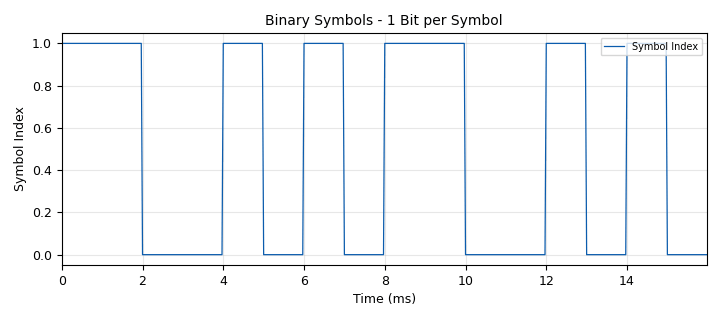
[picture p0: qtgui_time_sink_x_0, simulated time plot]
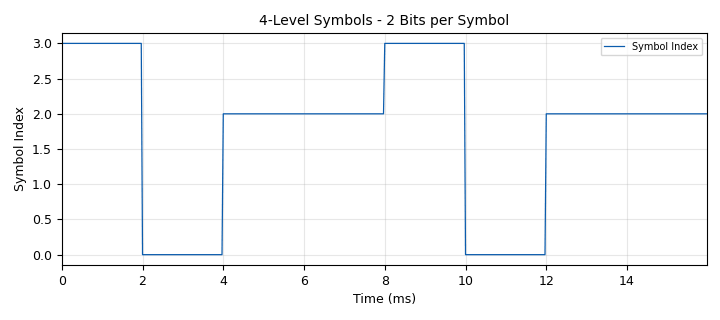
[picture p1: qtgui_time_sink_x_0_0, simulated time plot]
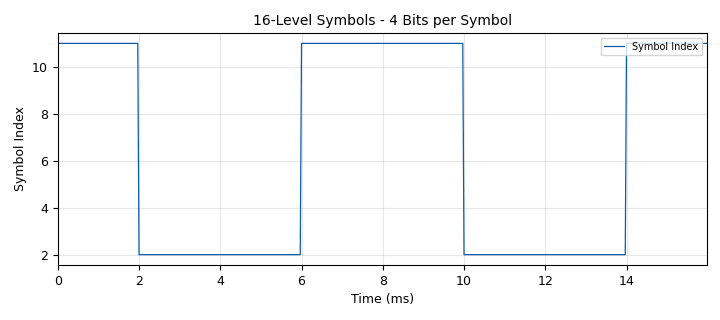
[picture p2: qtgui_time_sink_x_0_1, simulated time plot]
options:
  parameters:
    author: Dhrubjun
    generate_options: qt_gui
    id: exp4
    output_language: python
    title: Bit Rate vs Symbol Rate
  states: {}

blocks:
- name: bit_rate
  id: variable_qtgui_range
  parameters:
    label: Bit Rate (bit/s)
    start: '500'
    step: '500'
    stop: '4000'
    value: '1000'
  states: {}
- name: samp_rate
  id: variable
  parameters:
    value: '32000'
  states: {}
- name: samples_per_bit
  id: variable
  parameters:
    value: int(samp_rate / bit_rate)
  states: {}
- name: blocks_repack_bits_bb_0
  id: blocks_repack_bits_bb
  parameters:
    endianness: gr.GR_MSB_FIRST
    k: '1'
    l: '1'
  states: {}
- name: blocks_repack_bits_bb_0_0
  id: blocks_repack_bits_bb
  parameters:
    endianness: gr.GR_MSB_FIRST
    k: '1'
    l: '2'
  states: {}
- name: blocks_repack_bits_bb_0_1
  id: blocks_repack_bits_bb
  parameters:
    endianness: gr.GR_MSB_FIRST
    k: '1'
    l: '4'
  states: {}
- name: blocks_repeat_0
  id: blocks_repeat
  parameters:
    interp: samples_per_bit
    type: float
  states: {}
- name: blocks_repeat_0_0
  id: blocks_repeat
  parameters:
    interp: 2*samples_per_bit
    type: float
  states: {}
- name: blocks_repeat_0_1
  id: blocks_repeat
  parameters:
    interp: 4*samples_per_bit
    type: float
  states: {}
- name: blocks_throttle2_0
  id: blocks_throttle2
  parameters:
    samples_per_second: samp_rate
    type: float
  states: {}
- name: blocks_throttle2_0_0
  id: blocks_throttle2
  parameters:
    samples_per_second: samp_rate
    type: float
  states: {}
- name: blocks_throttle2_0_1
  id: blocks_throttle2
  parameters:
    samples_per_second: samp_rate
    type: float
  states: {}
- name: blocks_uchar_to_float_0
  id: blocks_uchar_to_float
  parameters: {}
  states: {}
- name: blocks_uchar_to_float_0_0
  id: blocks_uchar_to_float
  parameters: {}
  states: {}
- name: blocks_uchar_to_float_0_1
  id: blocks_uchar_to_float
  parameters: {}
  states: {}
- name: blocks_vector_source_x_0
  id: blocks_vector_source_x
  parameters:
    repeat: 'True'
    type: byte
    vector: (1, 0, 1, 1, 0, 0, 1, 0)
  states: {}
- name: qtgui_time_sink_x_0
  id: qtgui_time_sink_x
  parameters:
    autoscale: 'True'
    grid: 'True'
    gui_hint: (0,0,1,1)
    label1: Symbol Index
    name: Binary Symbols - 1 Bit per Symbol
    size: '512'
    srate: samp_rate
    type: float
    ylabel: Symbol Index
    ymax: '13'
    ymin: '0'
  states: {}
- name: qtgui_time_sink_x_0_0
  id: qtgui_time_sink_x
  parameters:
    autoscale: 'True'
    grid: 'True'
    gui_hint: (0,1,1,1)
    label1: Symbol Index
    name: 4-Level Symbols - 2 Bits per Symbol
    size: '512'
    srate: samp_rate
    type: float
    ylabel: Symbol Index
    ymax: '4'
    ymin: '-0.2'
  states: {}
- name: qtgui_time_sink_x_0_1
  id: qtgui_time_sink_x
  parameters:
    autoscale: 'True'
    grid: 'True'
    gui_hint: (1,0,1,2)
    label1: Symbol Index
    name: 16-Level Symbols - 4 Bits per Symbol
    size: '512'
    srate: samp_rate
    type: float
    ylabel: Symbol Index
    ymax: '2'
    ymin: '-0.2'
  states: {}

connections:
- [blocks_repack_bits_bb_0, '0', blocks_uchar_to_float_0, '0']
- [blocks_repack_bits_bb_0_0, '0', blocks_uchar_to_float_0_0, '0']
- [blocks_repack_bits_bb_0_1, '0', blocks_uchar_to_float_0_1, '0']
- [blocks_repeat_0, '0', blocks_throttle2_0, '0']
- [blocks_repeat_0_0, '0', blocks_throttle2_0_0, '0']
- [blocks_repeat_0_1, '0', blocks_throttle2_0_1, '0']
- [blocks_throttle2_0, '0', qtgui_time_sink_x_0, '0']
- [blocks_throttle2_0_0, '0', qtgui_time_sink_x_0_0, '0']
- [blocks_throttle2_0_1, '0', qtgui_time_sink_x_0_1, '0']
- [blocks_uchar_to_float_0, '0', blocks_repeat_0, '0']
- [blocks_uchar_to_float_0_0, '0', blocks_repeat_0_0, '0']
- [blocks_uchar_to_float_0_1, '0', blocks_repeat_0_1, '0']
- [blocks_vector_source_x_0, '0', blocks_repack_bits_bb_0, '0']
- [blocks_vector_source_x_0, '0', blocks_repack_bits_bb_0_0, '0']
- [blocks_vector_source_x_0, '0', blocks_repack_bits_bb_0_1, '0']

metadata:
  file_format: 1
  grc_version: 3.10.12.0
